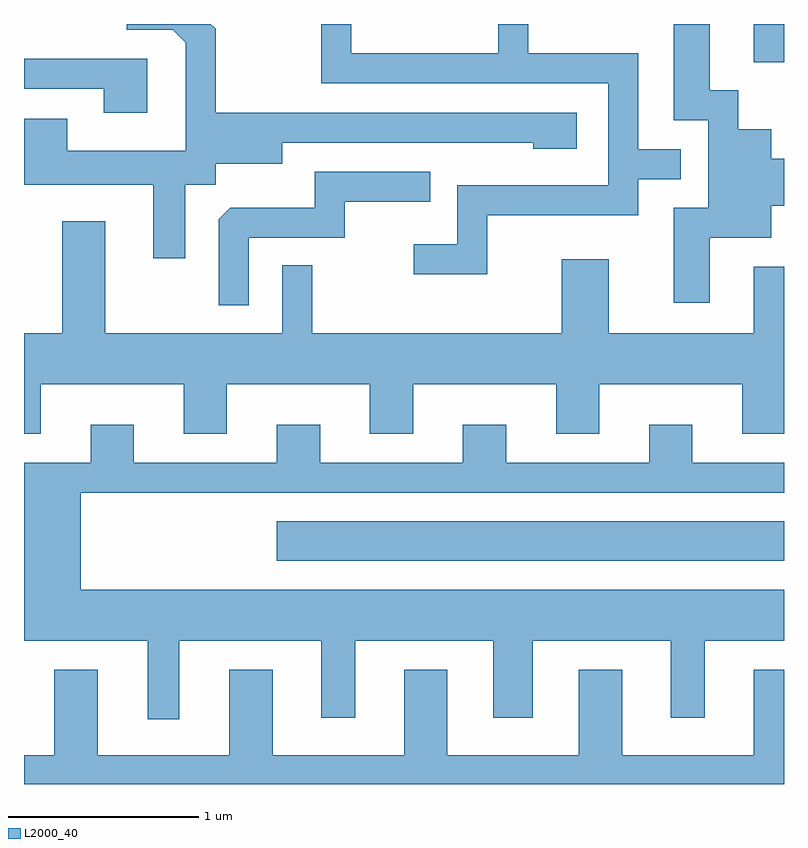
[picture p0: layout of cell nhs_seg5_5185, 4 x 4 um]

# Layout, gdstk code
import gdstk
lib = gdstk.Library(unit=1e-6, precision=1e-09)
def R(c, l, rs):  # rectangles x0, y0, x1, y1
    for r in rs: c.add(gdstk.rectangle(r[:2], r[2:], *l))
def P(c, l, *ps):  # polygons
    for p in ps: c.add(gdstk.Polygon(p, *l))
L2000_40 = (2000, 40)

nhs_seg5_5185 = lib.new_cell('nhs_seg5_5185')
R(nhs_seg5_5185, L2000_40, [(340.941,1409.246,343.611,1409.454), (343.451,1411.871,343.611,1412.072)])
P(nhs_seg5_5185, L2000_40, [(343.219,1410.946),(343.544,1410.946),(343.544,1411.116),(343.611,1411.116),(343.611,1411.364),(343.544,1411.364),(343.544,1411.519),(343.369,1411.519),(343.369,1411.724),(343.219,1411.724),(343.219,1412.072),(343.031,1412.072),(343.031,1411.566),(343.211,1411.566),(343.211,1411.104),(343.031,1411.104),(343.031,1410.606),(343.219,1410.606)],
  [(340.459,1411.226),(340.619,1411.226),(340.619,1411.336),(340.969,1411.336),(340.969,1411.446),(342.291,1411.446),(342.291,1411.416),(342.519,1411.416),(342.519,1411.604),(340.619,1411.604),(340.619,1412.047),(340.594,1412.072),(340.153,1412.072),(340.153,1412.041),(340.394,1412.041),(340.461,1411.974),(340.461,1411.404),(339.839,1411.404),(339.839,1411.574),(339.611,1411.574),(339.611,1411.226),(340.291,1411.226),(340.291,1410.838),(340.459,1410.838)],
  [(342.049,1411.066),(342.844,1411.066),(342.844,1411.256),(343.068,1411.256),(343.068,1411.414),(342.844,1411.414),(342.844,1411.919),(342.264,1411.919),(342.264,1412.072),(342.106,1412.072),(342.106,1411.919),(341.334,1411.919),(341.334,1412.072),(341.176,1412.072),(341.176,1411.761),(342.686,1411.761),(342.686,1411.224),(341.891,1411.224),(341.891,1410.914),(341.663,1410.914),(341.663,1410.756),(342.049,1410.756)],
  [(340.259,1411.889),(339.611,1411.889),(339.611,1411.731),(340.031,1411.731),(340.031,1411.606),(340.259,1411.606)],
  [(340.794,1410.946),(341.299,1410.946),(341.299,1411.136),(341.748,1411.136),(341.748,1411.294),(341.141,1411.294),(341.141,1411.104),(340.697,1411.104),(340.636,1411.044),(340.636,1410.593),(340.794,1410.593)],
  [(339.699,1410.176),(340.451,1410.176),(340.451,1409.916),(340.679,1409.916),(340.679,1410.176),(341.431,1410.176),(341.431,1409.916),(341.659,1409.916),(341.659,1410.176),(342.411,1410.176),(342.411,1409.916),(342.639,1409.916),(342.639,1410.176),(343.391,1410.176),(343.391,1409.916),(343.611,1409.916),(343.611,1410.794),(343.451,1410.794),(343.451,1410.444),(342.689,1410.444),(342.689,1410.834),(342.441,1410.834),(342.441,1410.444),(341.129,1410.444),(341.129,1410.803),(340.971,1410.803),(340.971,1410.444),(340.039,1410.444),(340.039,1411.034),(339.811,1411.034),(339.811,1410.444),(339.611,1410.444),(339.611,1409.916),(339.699,1409.916)],
  [(340.429,1408.826),(341.176,1408.826),(341.176,1408.421),(341.354,1408.421),(341.354,1408.826),(342.081,1408.826),(342.081,1408.421),(342.289,1408.421),(342.289,1408.826),(343.016,1408.826),(343.016,1408.421),(343.194,1408.421),(343.194,1408.826),(343.611,1408.826),(343.611,1409.094),(339.909,1409.094),(339.909,1409.606),(343.611,1409.606),(343.611,1409.764),(343.129,1409.764),(343.129,1409.964),(342.901,1409.964),(342.901,1409.764),(342.149,1409.764),(342.149,1409.964),(341.921,1409.964),(341.921,1409.764),(341.169,1409.764),(341.169,1409.964),(340.941,1409.964),(340.941,1409.764),(340.189,1409.764),(340.189,1409.964),(339.961,1409.964),(339.961,1409.764),(339.611,1409.764),(339.611,1408.826),(340.261,1408.826),(340.261,1408.413),(340.429,1408.413)],
  [(343.611,1408.674),(343.451,1408.674),(343.451,1408.224),(342.759,1408.224),(342.759,1408.674),(342.531,1408.674),(342.531,1408.224),(341.839,1408.224),(341.839,1408.674),(341.611,1408.674),(341.611,1408.224),(340.919,1408.224),(340.919,1408.674),(340.691,1408.674),(340.691,1408.224),(339.999,1408.224),(339.999,1408.674),(339.771,1408.674),(339.771,1408.224),(339.611,1408.224),(339.611,1408.072),(343.611,1408.072)])

lib.write_gds('nhs_seg5_5185.gds')
